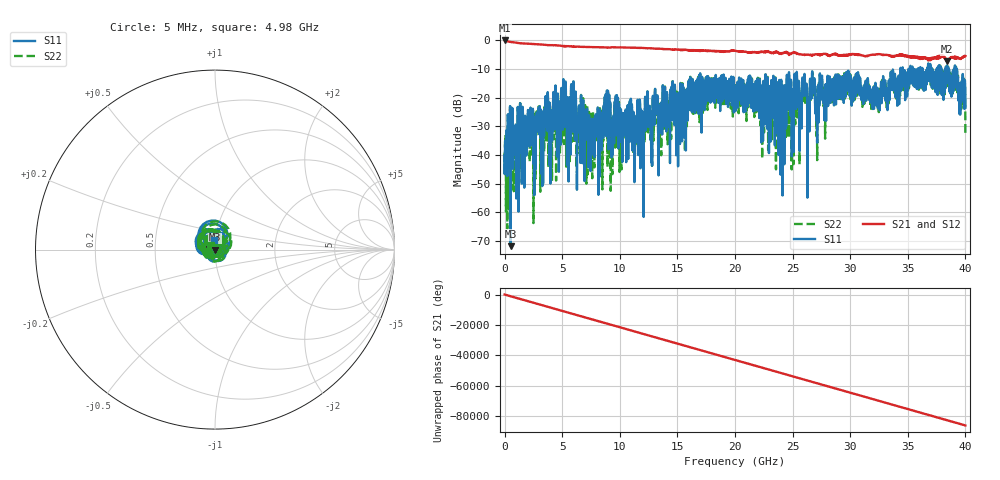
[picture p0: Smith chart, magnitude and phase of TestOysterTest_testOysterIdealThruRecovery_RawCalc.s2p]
# MHz MA S R 50.0
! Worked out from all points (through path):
!   8000 points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, 5 MHz to 40 GHz, reference 50 ohm
!   highest |S21| = -0.10 dB at 5 MHz (marker M1); lowest = -7.3 dB at 38.4 GHz (marker M2)
!   group delay of S21, straight-line fit = 5.99 ns
!   lowest |S11| = -71.7 dB at 535 MHz (marker M3), VSWR 1.00, Z = 50 - j0.0202 ohm
!   |S11| at or under -10 dB: start of sweep to 34.37 GHz; 38.51 GHz to 39.07 GHz (564.3 MHz wide, 1.45 % of centre); 39.19 GHz to end of sweep (the widest 3 of 24)
!   |S22| runs from -65.6 to -8.1 dB; largest |S21 - S12| = 0.0016
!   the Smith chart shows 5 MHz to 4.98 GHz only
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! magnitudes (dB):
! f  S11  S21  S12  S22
! 5 MHz  -40.2  -0.1  -0.1  -39.5
! 535 MHz  -71.7  -0.6  -0.6  -39.7
! 3.995 GHz  -36.4  -1.7  -1.7  -28.9
! 5.115 GHz  -13.7  -2.2  -2.2  -14.0
! 6.675 GHz  -23.2  -2.3  -2.3  -24.7
! 7.415 GHz  -28.4  -2.4  -2.4  -39.3
! 8.885 GHz  -17.5  -2.6  -2.6  -17.7
! 9.315 GHz  -35.0  -2.5  -2.5  -33.8
! 9.74 GHz  -19.4  -2.6  -2.6  -19.1
! 11.3 GHz  -38.4  -2.6  -2.6  -34.1
! 13.34 GHz  -30.6  -3.0  -3.0  -43.0
! 16.12 GHz  -13.0  -3.7  -3.7  -12.8
! 20 GHz  -18.1  -3.7  -3.7  -18.8
! 24.26 GHz  -31.5  -4.3  -4.3  -24.8
! 24.68 GHz  -11.3  -5.1  -5.1  -11.8
! 26.67 GHz  -15.0  -5.3  -5.3  -15.1
! 27.13 GHz  -35.7  -4.9  -4.9  -36.0
! 29.66 GHz  -11.1  -5.4  -5.4  -10.9
! 33.34 GHz  -15.5  -5.3  -5.3  -17.0
! 38.4 GHz  -8.8  -7.3  -7.3  -9.4
! 39.78 GHz  -12.1  -6.1  -6.1  -13.0
! 40 GHz  -23.5  -5.5  -5.5  -33.3
